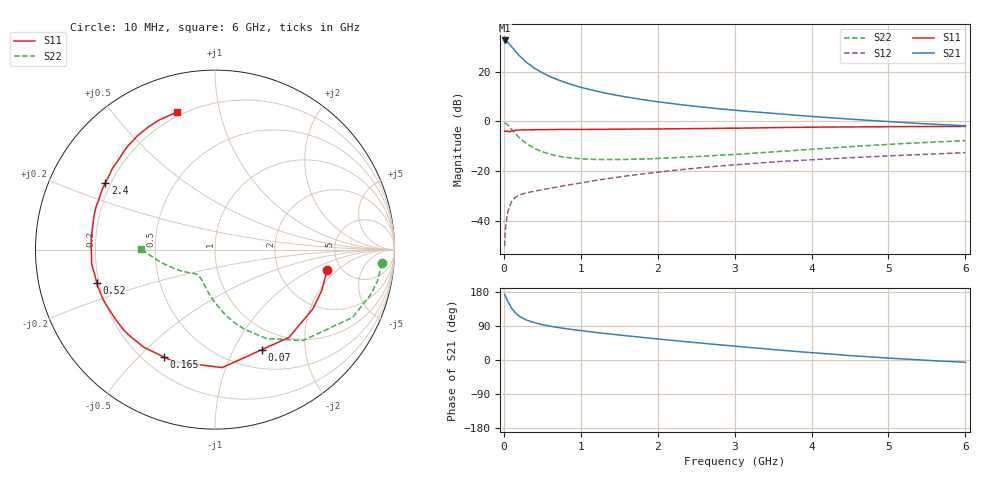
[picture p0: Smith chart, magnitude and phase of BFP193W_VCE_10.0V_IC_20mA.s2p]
! Infineon Technologies  Discrete & RF Semiconductors
! BFP193W
! VCE = 10.0V,  IC =  20 mA
! Common Emitter S-Parameters:  Jan 2016
# GHz  S  MA  R  50
!  f  S11  S21  S12  S22
! GHz  MAG  ANG  MAG  ANG  MAG  ANG  MAG  ANG
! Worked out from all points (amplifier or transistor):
!   210 points, 10 MHz to 6 GHz, reference 50 ohm
!   highest |S21| = 32.6 dB at 10 MHz (marker M1)
!   |S21| within 3 dB of that: start of sweep to 115 MHz
!   unconditionally stable (mu >= 1): 1.056 GHz to 4.801 GHz
!   at 185 MHz: K = 0.32, MSG = 28.5 dB, |S12| = -29.9 dB
!   at 1.52 GHz: K = 1.09, MAG = 14.4 dB, |S12| = -22.2 dB
!   at 6 GHz: K = 0.95, MSG = 5.4 dB, |S12| = -12.6 dB
!   S11 on the Smith chart (normalised r, x): 10 MHz: 3.88, -1.48; 70 MHz: 0.73, -1.31; 165 MHz: 0.28, -0.60; 520 MHz: 0.19, -0.13; 2.4 GHz: 0.18, +0.27; 6 GHz: 0.18, +0.75
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0.01  0.635 -10.3  42.54 173.3  0.0031 75.8  0.9329 -4.6
0.02  0.6368 -20.8  42.11 169.2  0.0065 74.9  0.9219 -11.1
0.03  0.6378 -31.0  41.44 164.4  0.0093 74.4  0.9022 -16.2
0.05  0.6399 -49.9  39.12 155.0  0.0149 67.0  0.854 -26.3
0.07  0.6158 -64.7  35.91 148.5  0.0185 60.1  0.7839 -33.2
0.1  0.6586 -86.5  32.14 136.7  0.0243 53.7  0.7052 -45.9
0.15  0.6656 -110.6  25.88 123.9  0.0298 45.6  0.5724 -60.0
0.165  0.6627 -115.3  24.39 121.7  0.0307 44.3  0.5412 -62.5
0.2  0.6732 -126.2  21.1 115.5  0.0329 41.5  0.4734 -69.7
0.26  0.6774 -138.6  17.19 108.7  0.0356 38.7  0.3939 -78.0
0.3  0.6772 -144.8  15.1 104.9  0.0368 38.2  0.351 -82.8
0.4  0.6829 -155.8  11.71 98.1  0.0396 37.7  0.2848 -91.6
0.52  0.6844 -164.4  9.186 92.4  0.043 40.0  0.2395 -99.3
0.7  0.6921 -173.2  6.907 85.8  0.0482 43.0  0.201 -107.8
1.02  0.6916 176.7  4.77 77.1  0.0588 47.6  0.1768 -117.8
1.4  0.696 167.4  3.51 68.1  0.0729 50.6  0.1712 -125.1
2.02  0.7072 155.2  2.464 55.1  0.0966 51.6  0.1814 -133.1
2.4  0.7158 148.6  2.084 47.7  0.1112 50.7  0.1932 -137.8
3.1  0.734 137.3  1.63 34.8  0.138 47.6  0.2224 -147.7
4.1  0.7689 123.1  1.23 17.9  0.1734 42.0  0.2824 -162.0
5.1  0.7863 112.5  0.971 3.9  0.2056 36.2  0.3526 -173.7
6  0.7955 105.3  0.817 -6.2  0.2357 31.5  0.4117 179.3
